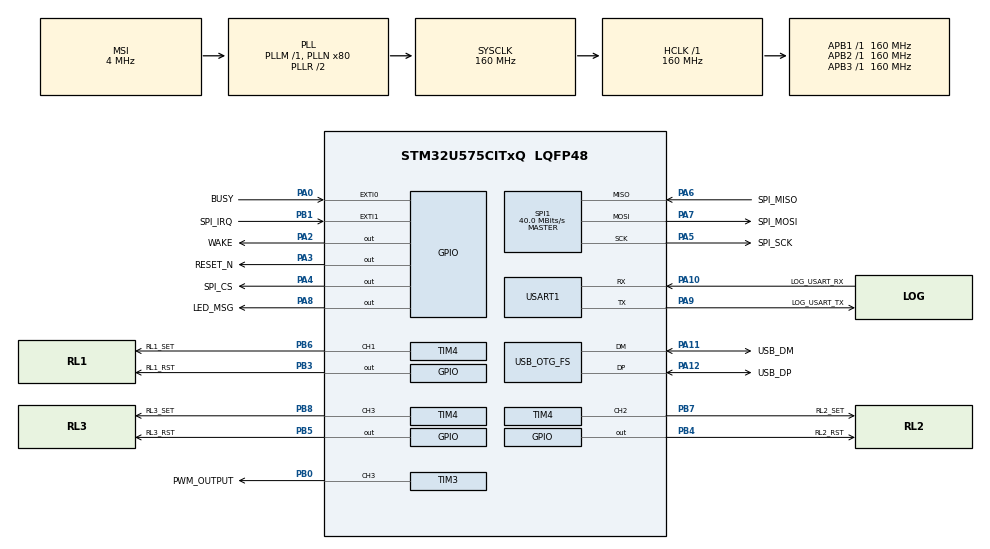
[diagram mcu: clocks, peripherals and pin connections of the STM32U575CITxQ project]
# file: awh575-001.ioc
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ADC1.Channel-1\#ChannelRegularConversion=ADC_CHANNEL_TEMPSENSOR
ADC1.ClockPrescaler=ADC_CLOCK_ASYNC_DIV1
ADC1.ContinuousConvMode=ENABLE
ADC1.EnableRegularConversion=ENABLE
ADC1.MonitoredBy-1\#ChannelRegularConversion=__NULL
ADC1.NbrOfConversion=1
ADC1.NbrOfConversionFlag=1
ADC1.OffsetNumber-1\#ChannelRegularConversion=ADC_OFFSET_NONE
ADC1.Rank-1\#ChannelRegularConversion=1
ADC1.Resolution=ADC_RESOLUTION_14B
ADC1.SamplingTime-1\#ChannelRegularConversion=ADC_SAMPLETIME_391CYCLES_5
ADC1.master=1
CORTEX_M33_NS.userName=CORTEX_M33
GPDMA1.DESTINC_GPDMACH14=DMA_DINC_INCREMENTED
GPDMA1.DIRECTION_GPDMACH15=DMA_MEMORY_TO_PERIPH
GPDMA1.IPHANDLE_GPDMACH14-SIMPLEREQUEST_GPDMACH14=__NULL
GPDMA1.IPHANDLE_GPDMACH15-SIMPLEREQUEST_GPDMACH15=__NULL
GPDMA1.RECAP_GPDMACH14=GPDMA1_REQUEST_SPI1_RX
GPDMA1.RECAP_GPDMACH15=GPDMA1_REQUEST_SPI1_TX
GPDMA1.REQUEST_GPDMACH14=GPDMA1_REQUEST_SPI1_RX
GPDMA1.REQUEST_GPDMACH15=GPDMA1_REQUEST_SPI1_TX
GPDMA1.SRCINC_GPDMACH15=DMA_SINC_INCREMENTED
LPTIM1.ClockPrescaler=LPTIM_PRESCALER_DIV4
Mcu.Family=STM32U5
Mcu.Name=STM32U575CITxQ
Mcu.Package=LQFP48
NVIC.EXTI0_IRQn=true\:15\:0\:true\:false\:false\:true\:true\:false
NVIC.EXTI1_IRQn=true\:15\:0\:true\:false\:false\:true\:true\:false
NVIC.GPDMA1_Channel14_IRQn=true\:15\:0\:true\:false\:false\:true\:true\:true
NVIC.LPTIM1_IRQn=true\:0\:0\:false\:false\:false\:true\:true\:true
NVIC.OTG_FS_IRQn=true\:0\:0\:false\:false\:true\:true\:false\:false
NVIC.PriorityGroup=NVIC_PRIORITYGROUP_4
NVIC.SPI1_IRQn=true\:0\:0\:false\:false\:false\:false\:true\:true
NVIC.TIM1_UP_IRQn=true\:0\:0\:true\:false\:true\:false\:true\:true
NVIC.TimeBase=TIM1_UP_IRQn
NVIC.TimeBaseIP=TIM1
NVIC.USART1_IRQn=true\:15\:0\:true\:false\:false\:true\:true\:true
PA0.GPIO_Label=BUSY
PA0.GPIO_PuPd=GPIO_PULLDOWN
PA0.Signal=GPXTI0
PA10.GPIO_Label=LOG_USART_RX
PA10.GPIO_PuPd=GPIO_PULLDOWN
PA10.GPIO_Speed=GPIO_SPEED_FREQ_VERY_HIGH
PA10.Mode=Asynchronous
PA10.Signal=USART1_RX
PA11.GPIO_Label=USB_DM
PA11.Mode=Device_Only
PA11.Signal=USB_OTG_FS_DM
PA12.GPIO_Label=USB_DP
PA12.Mode=Device_Only
PA12.Signal=USB_OTG_FS_DP
PA13\ (JTMS/SWDIO).GPIO_Label=SWDIO
PA13\ (JTMS/SWDIO).Mode=Serial_Wire
PA13\ (JTMS/SWDIO).Signal=DEBUG_JTMS-SWDIO
PA14\ (JTCK/SWCLK).GPIO_Label=SWCLK
PA14\ (JTCK/SWCLK).Mode=Serial_Wire
PA14\ (JTCK/SWCLK).Signal=DEBUG_JTCK-SWCLK
PA2.GPIO_Label=WAKE
PA2.Signal=GPIO_Output
PA3.GPIO_Label=RESET_N
PA3.Signal=GPIO_Output
PA4.GPIO_Label=SPI_CS
PA4.Signal=GPIO_Output
PA5.GPIO_Label=SPI_SCK
PA5.GPIO_Speed=GPIO_SPEED_FREQ_VERY_HIGH
PA5.Mode=Full_Duplex_Master
PA5.Signal=SPI1_SCK
PA6.GPIO_Label=SPI_MISO
PA6.GPIO_Speed=GPIO_SPEED_FREQ_VERY_HIGH
PA6.Mode=Full_Duplex_Master
PA6.Signal=SPI1_MISO
PA7.GPIO_Label=SPI_MOSI
PA7.GPIO_Speed=GPIO_SPEED_FREQ_VERY_HIGH
PA7.Mode=Full_Duplex_Master
PA7.Signal=SPI1_MOSI
PA8.GPIO_Label=LED_MSG
PA8.PinState=GPIO_PIN_SET
PA8.Signal=GPIO_Output
PA9.GPIO_Label=LOG_USART_TX
PA9.GPIO_PuPd=GPIO_PULLDOWN
PA9.GPIO_Speed=GPIO_SPEED_FREQ_VERY_HIGH
PA9.Mode=Asynchronous
PA9.Signal=USART1_TX
PB0.GPIO_Label=PWM_OUTPUT
PB0.Signal=S_TIM3_CH3
PB1.GPIO_Label=SPI_IRQ
PB1.GPIO_ModeDefaultEXTI=GPIO_MODE_IT_FALLING
PB1.Signal=GPXTI1
PB3\ (JTDO/TRACESWO).GPIO_Label=RL1_RST
PB3\ (JTDO/TRACESWO).Signal=GPIO_Output
PB4\ (NJTRST).GPIO_Label=RL2_RST
PB4\ (NJTRST).Signal=GPIO_Output
PB5.GPIO_Label=RL3_RST
PB5.PinState=GPIO_PIN_RESET
PB5.Signal=GPIO_Output
PB6.GPIO_Label=RL1_SET
PB6.Signal=S_TIM4_CH1
PB7.GPIO_Label=RL2_SET
PB7.Signal=S_TIM4_CH2
PB8.GPIO_Label=RL3_SET
PB8.Signal=S_TIM4_CH3
PWR.PowerMode=PWR_SMPS_SUPPLY
ProjectManager.HeapSize=0x200
ProjectManager.StackSize=0x400
ProjectManager.TargetToolchain=Makefile
RCC.ADCFreq_Value=16000000
RCC.AHBFreq_Value=160000000
RCC.APB1Freq_Value=160000000
RCC.APB1TimFreq_Value=160000000
RCC.APB2Freq_Value=160000000
RCC.APB2TimFreq_Value=160000000
RCC.APB3Freq_Value=160000000
RCC.CortexFreq_Value=160000000
RCC.DACCLockSelectionVirtual=RCC_DAC1CLKSOURCE_LSI
RCC.EPOD_VALUE=4000000
RCC.HCLKFreq_Value=160000000
RCC.HSE_VALUE=16000000
RCC.HSI48_VALUE=48000000
RCC.HSI_VALUE=16000000
RCC.LPTIM1CLockSelectionVirtual=RCC_LPTIM1CLKSOURCE_LSI
RCC.LSE_VALUE=32768
RCC.LSIDIV_VALUE=32000
RCC.MSI_VALUE=4000000
RCC.PLLN=80
RCC.SYSCLKFreq_VALUE=160000000
RCC.SYSCLKSource=RCC_SYSCLKSOURCE_PLLCLK
RCC.USBFreq_Value=48000000
RCC.VCOOutputFreq_Value=320000000
SH.S_TIM3_CH3.0=TIM3_CH3,PWM Generation3 CH3
SH.S_TIM4_CH1.0=TIM4_CH1,PWM Generation1 CH1
SH.S_TIM4_CH2.0=TIM4_CH2,PWM Generation2 CH2
SH.S_TIM4_CH3.0=TIM4_CH3,PWM Generation3 CH3
SPI1.BaudRatePrescaler=SPI_BAUDRATEPRESCALER_4
SPI1.CalculateBaudRate=40.0 MBits/s
SPI1.DataSize=SPI_DATASIZE_8BIT
SPI1.Direction=SPI_DIRECTION_2LINES
SPI1.Mode=SPI_MODE_MASTER
SPI1.NSSPMode=SPI_NSS_PULSE_DISABLE
SPI1.VirtualType=VM_MASTER
TIM3.Channel-PWM\ Generation3\ CH3=TIM_CHANNEL_3
TIM3.PeriodNoDither=500-1
TIM3.Prescaler=160-1
TIM4.Channel-PWM\ Generation1\ CH1=TIM_CHANNEL_1
TIM4.Channel-PWM\ Generation2\ CH2=TIM_CHANNEL_2
TIM4.Channel-PWM\ Generation3\ CH3=TIM_CHANNEL_3
TIM4.PeriodNoDither=500-1
TIM4.Prescaler=16-1
USART1.VirtualMode-Asynchronous=VM_ASYNC
USB_OTG_FS.VirtualMode=Device_Only
VP_ADC1_TempSens_Input.Mode=IN-TempSens
VP_GPDMA1_VS_GPDMACH14.Mode=SIMPLEREQUEST_GPDMACH14
VP_GPDMA1_VS_GPDMACH15.Mode=SIMPLEREQUEST_GPDMACH15
VP_ICACHE_VS_ICACHE.Mode=DefaultMode
VP_LPBAMQUEUE_VS_QUEUE.Mode=QUEUEMODE
VP_LPBAM_VS_SIG1.Mode=SmartRun
VP_LPBAM_VS_SIG4.Mode=LPDMA1
VP_LPTIM1_VS_LPTIM_counterModeInternalClock.Mode=Counts__internal_clock_event_00
VP_MEMORYMAP_VS_MEMORYMAP.Mode=CurAppReg
VP_PWR_VS_DBSignals.Mode=DisableDeadBatterySignals
VP_PWR_VS_LPOM.Mode=PowerOptimisation
VP_PWR_VS_SECSignals.Mode=Security/Privilege
VP_PWR_Vdda.Mode=isolationVdda
VP_RNG_VS_RNG.Mode=RNG_Activate
VP_RTC_VS_RTC_Activate.Mode=RTC_Enabled
VP_SYS_VS_tim1.Mode=TIM1
board=custom

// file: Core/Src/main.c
/* USER CODE BEGIN Header */
/**
  ******************************************************************************
  * @file           : main.c
  * @brief          : Main program body
  ******************************************************************************
  * @attention
  *
  * Copyright (c) 2022 STMicroelectronics.
  * All rights reserved.
  *
  * This software is licensed under terms that can be found in the LICENSE file
  * in the root directory of this software component.
  * If no LICENSE file comes with this software, it is provided AS-IS.
  *
  ******************************************************************************
  */
/* USER CODE END Header */
#include "main.h"

/* USER CODE BEGIN Includes */
#include "mmosal.h"

#ifdef CFG_ENABLE
#include "CLI-commands.h"
#endif
/* USER CODE END Includes */

/* USER CODE BEGIN PD */
#ifndef SWO_GPIO_Port
#define SWO_GPIO_Port   GPIOB
#endif
#ifndef SWO_Pin
#define SWO_Pin         LL_GPIO_PIN_3
#endif
/* USER CODE END PD */

ADC_HandleTypeDef hadc1;

RNG_HandleTypeDef hrng;

TIM_HandleTypeDef htim3;
TIM_HandleTypeDef htim4;

PCD_HandleTypeDef hpcd_USB_OTG_FS;

/* USER CODE BEGIN PV */
#ifdef ENABLE_MODBUS
UART_HandleTypeDef *pta_UART[MODBUS_NUM] = {
}
#endif
/* USER CODE END PV */

void SystemClock_Config(void);
static void SystemPower_Config(void);
static void MX_GPIO_Init(void);
static void MX_GPDMA1_Init(void);
static void MX_SPI1_Init(void);
static void MX_TIM3_Init(void);
static void MX_TIM4_Init(void);
static void MX_USART1_UART_Init(void);
static void MX_USB_OTG_FS_PCD_Init(void);
static void MX_ICACHE_Init(void);
static void MX_LPTIM1_Init(void);
static void MX_RNG_Init(void);
static void MX_RTC_Init(void);
static void MX_ADC1_Init(void);
/* USER CODE BEGIN PFP */
void app_init(void);
/* USER CODE END PFP */

int main(void)
{

  /* MCU Configuration--------------------------------------------------------*/

  /* Reset of all peripherals, Initializes the Flash interface and the Systick. */
  HAL_Init();

  /* Configure the System Power */
  SystemPower_Config();

  /* Configure the system clock */
  SystemClock_Config();

  /* Initialize all configured peripherals */
  MX_GPIO_Init();
  MX_GPDMA1_Init();
  MX_SPI1_Init();
  MX_TIM3_Init();
  MX_TIM4_Init();
  MX_USART1_UART_Init();
  MX_ICACHE_Init();
  MX_LPTIM1_Init();
  MX_RNG_Init();
  MX_RTC_Init();
  MX_ADC1_Init();
  /* USER CODE BEGIN 2 */
  MX_USB_OTG_FS_PCD_Init();

  printf("%cc",0x1b);

#if defined(ENABLE_DEBUG_IN_STOP_MODE) && ENABLE_DEBUG_IN_STOP_MODE
  LL_DBGMCU_EnableDBGStopMode();
  printf("\nNote: This firmware has been built with debug in stop mode enabled.\n");
  printf("This will impact power consumption and should be disabled for production firmware.\n");
#endif
  mmosal_main(app_init);
  /* USER CODE END 2 */

  /* Infinite loop */
  while (1)
  {

  }
}

void SystemClock_Config(void)
{
  RCC_OscInitTypeDef RCC_OscInitStruct = {0};
  RCC_ClkInitTypeDef RCC_ClkInitStruct = {0};

  /** Configure the main internal regulator output voltage
  */
  if (HAL_PWREx_ControlVoltageScaling(PWR_REGULATOR_VOLTAGE_SCALE1) != HAL_OK)
  {
    Error_Handler();
  }

  /** Initializes the CPU, AHB and APB buses clocks
  */
  RCC_OscInitStruct.OscillatorType = RCC_OSCILLATORTYPE_HSI48|RCC_OSCILLATORTYPE_HSI
                              |RCC_OSCILLATORTYPE_LSI|RCC_OSCILLATORTYPE_MSI;
  RCC_OscInitStruct.HSIState = RCC_HSI_ON;
  RCC_OscInitStruct.HSI48State = RCC_HSI48_ON;
  RCC_OscInitStruct.HSICalibrationValue = RCC_HSICALIBRATION_DEFAULT;
  RCC_OscInitStruct.LSIState = RCC_LSI_ON;
  RCC_OscInitStruct.MSIState = RCC_MSI_ON;
  RCC_OscInitStruct.MSICalibrationValue = RCC_MSICALIBRATION_DEFAULT;
  RCC_OscInitStruct.MSIClockRange = RCC_MSIRANGE_4;
  RCC_OscInitStruct.LSIDiv = RCC_LSI_DIV1;
  RCC_OscInitStruct.PLL.PLLState = RCC_PLL_ON;
  RCC_OscInitStruct.PLL.PLLSource = RCC_PLLSOURCE_MSI;
  RCC_OscInitStruct.PLL.PLLMBOOST = RCC_PLLMBOOST_DIV1;
  RCC_OscInitStruct.PLL.PLLM = 1;
  RCC_OscInitStruct.PLL.PLLN = 80;
  RCC_OscInitStruct.PLL.PLLP = 2;
  RCC_OscInitStruct.PLL.PLLQ = 2;
  RCC_OscInitStruct.PLL.PLLR = 2;
  RCC_OscInitStruct.PLL.PLLRGE = RCC_PLLVCIRANGE_0;
  RCC_OscInitStruct.PLL.PLLFRACN = 0;
  if (HAL_RCC_OscConfig(&RCC_OscInitStruct) != HAL_OK)
  {
    Error_Handler();
  }

  /** Initializes the CPU, AHB and APB buses clocks
  */
  RCC_ClkInitStruct.ClockType = RCC_CLOCKTYPE_HCLK|RCC_CLOCKTYPE_SYSCLK
                              |RCC_CLOCKTYPE_PCLK1|RCC_CLOCKTYPE_PCLK2
                              |RCC_CLOCKTYPE_PCLK3;
  RCC_ClkInitStruct.SYSCLKSource = RCC_SYSCLKSOURCE_PLLCLK;
  RCC_ClkInitStruct.AHBCLKDivider = RCC_SYSCLK_DIV1;
  RCC_ClkInitStruct.APB1CLKDivider = RCC_HCLK_DIV1;
  RCC_ClkInitStruct.APB2CLKDivider = RCC_HCLK_DIV1;
  RCC_ClkInitStruct.APB3CLKDivider = RCC_HCLK_DIV1;

  if (HAL_RCC_ClockConfig(&RCC_ClkInitStruct, FLASH_LATENCY_4) != HAL_OK)
  {
    Error_Handler();
  }
}

/**
  * @brief Power Configuration
  * @retval None
  */
static void SystemPower_Config(void)
{

  /*
   * Disable the internal Pull-Up in Dead Battery pins of UCPD peripheral
   */
  HAL_PWREx_DisableUCPDDeadBattery();

  /*
   * Switch to SMPS regulator instead of LDO
   */
  if (HAL_PWREx_ConfigSupply(PWR_SMPS_SUPPLY) != HAL_OK)
  {
    Error_Handler();
  }
}

static void MX_ADC1_Init(void)
{

  ADC_ChannelConfTypeDef sConfig = {0};

  /** Common config
  */
  hadc1.Instance = ADC1;
  hadc1.Init.ClockPrescaler = ADC_CLOCK_ASYNC_DIV1;
  hadc1.Init.Resolution = ADC_RESOLUTION_14B;
  hadc1.Init.GainCompensation = 0;
  hadc1.Init.ScanConvMode = ADC_SCAN_DISABLE;
  hadc1.Init.EOCSelection = ADC_EOC_SINGLE_CONV;
  hadc1.Init.LowPowerAutoWait = DISABLE;
  hadc1.Init.ContinuousConvMode = ENABLE;
  hadc1.Init.NbrOfConversion = 1;
  hadc1.Init.DiscontinuousConvMode = DISABLE;
  hadc1.Init.ExternalTrigConv = ADC_SOFTWARE_START;
  hadc1.Init.ExternalTrigConvEdge = ADC_EXTERNALTRIGCONVEDGE_NONE;
  hadc1.Init.DMAContinuousRequests = DISABLE;
  hadc1.Init.TriggerFrequencyMode = ADC_TRIGGER_FREQ_HIGH;
  hadc1.Init.Overrun = ADC_OVR_DATA_PRESERVED;
  hadc1.Init.LeftBitShift = ADC_LEFTBITSHIFT_NONE;
  hadc1.Init.ConversionDataManagement = ADC_CONVERSIONDATA_DR;
  hadc1.Init.OversamplingMode = DISABLE;
  if (HAL_ADC_Init(&hadc1) != HAL_OK)
  {
    Error_Handler();
  }

  /** Configure Regular Channel
  */
  sConfig.Channel = ADC_CHANNEL_TEMPSENSOR;
  sConfig.Rank = ADC_REGULAR_RANK_1;
  sConfig.SamplingTime = ADC_SAMPLETIME_391CYCLES_5;
  sConfig.SingleDiff = ADC_SINGLE_ENDED;
  sConfig.OffsetNumber = ADC_OFFSET_NONE;
  sConfig.Offset = 0;
  if (HAL_ADC_ConfigChannel(&hadc1, &sConfig) != HAL_OK)
  {
    Error_Handler();
  }
  /* USER CODE BEGIN ADC1_Init 2 */
    LL_ADC_SetCommonPathInternalChAdd((ADC_Common_TypeDef *)ADC1_BASE, LL_ADC_PATH_INTERNAL_TEMPSENSOR);
    if (HAL_ADCEx_Calibration_Start(&hadc1, 1, 0) != HAL_OK)
    {
        printf("ADC Calibration fail\r\n");
    }
    LL_ADC_SetCommonPathInternalChRem((ADC_Common_TypeDef *)ADC1_BASE, LL_ADC_PATH_INTERNAL_TEMPSENSOR);

  /* USER CODE END ADC1_Init 2 */

}

static void MX_GPDMA1_Init(void)
{

  /* Peripheral clock enable */
  LL_AHB1_GRP1_EnableClock(LL_AHB1_GRP1_PERIPH_GPDMA1);

  /* GPDMA1 interrupt Init */
  NVIC_SetPriority(GPDMA1_Channel14_IRQn, NVIC_EncodePriority(NVIC_GetPriorityGrouping(),15, 0));
  NVIC_EnableIRQ(GPDMA1_Channel14_IRQn);

}

static void MX_ICACHE_Init(void)
{

  /** Enable instruction cache (default 2-ways set associative cache)
  */
  if (HAL_ICACHE_Enable() != HAL_OK)
  {
    Error_Handler();
  }

}

static void MX_LPTIM1_Init(void)
{

  RCC_PeriphCLKInitTypeDef PeriphClkInit = {0};

  /** Initializes the peripherals clock
  */
  PeriphClkInit.PeriphClockSelection = RCC_PERIPHCLK_LPTIM1;
  PeriphClkInit.Lptim1ClockSelection = RCC_LPTIM1CLKSOURCE_LSI;
  if (HAL_RCCEx_PeriphCLKConfig(&PeriphClkInit) != HAL_OK)
  {
    Error_Handler();
  }

  /* Peripheral clock enable */
  LL_APB3_GRP1_EnableClock(LL_APB3_GRP1_PERIPH_LPTIM1);

  /* LPTIM1 interrupt Init */
  NVIC_SetPriority(LPTIM1_IRQn, NVIC_EncodePriority(NVIC_GetPriorityGrouping(),0, 0));
  NVIC_EnableIRQ(LPTIM1_IRQn);

  LL_LPTIM_Enable(LPTIM1);
  LL_LPTIM_ClearFlag_REPOK(LPTIM1);
  LL_LPTIM_SetRepetition(LPTIM1, 0);

   /* Wait till REPOK Flag is ready */
  while(!LL_LPTIM_IsActiveFlag_REPOK(LPTIM1))
  {
  }
  LL_LPTIM_ClearFlag_ARROK(LPTIM1);
  LL_LPTIM_SetAutoReload(LPTIM1, 65535);

   /* Wait till ARROK Flag is ready */
  while(!LL_LPTIM_IsActiveFlag_ARROK(LPTIM1))
  {
  }
  LL_LPTIM_Disable(LPTIM1);
  LL_LPTIM_SetClockSource(LPTIM1, LL_LPTIM_CLK_SOURCE_INTERNAL);
  LL_LPTIM_SetPrescaler(LPTIM1, LL_LPTIM_PRESCALER_DIV4);
  LL_LPTIM_SetUpdateMode(LPTIM1, LL_LPTIM_UPDATE_MODE_IMMEDIATE);
  LL_LPTIM_SetCounterMode(LPTIM1, LL_LPTIM_COUNTER_MODE_INTERNAL);
  LL_LPTIM_TrigSw(LPTIM1);
  LL_LPTIM_SetInput1Src(LPTIM1, LL_LPTIM_INPUT1_SRC_GPIO);
  LL_LPTIM_SetInput2Src(LPTIM1, LL_LPTIM_INPUT2_SRC_GPIO);
  /* USER CODE BEGIN LPTIM1_Init 2 */

  /* We enable the LPTIM in continuous mode and leave it running. We then use the compare match
   * functionality for tracking time whilst in deep sleep. This avoids having to wait the
   * synchronisation delay (3 cycles). */
  LL_LPTIM_Enable(LPTIM1);

  LL_LPTIM_ClearFlag_DIEROK(LPTIM1);
  LL_LPTIM_EnableIT_CC1(LPTIM1);
  while (!LL_LPTIM_IsActiveFlag_DIEROK(LPTIM1))
  {
  }
  LL_LPTIM_StartCounter(LPTIM1, LL_LPTIM_OPERATING_MODE_CONTINUOUS);

  /* Enable LPTIM1 autonomous mode to wake up from stop modes. */
  LL_SRDAMR_GRP1_EnableAutonomousClock(LL_SRDAMR_GRP1_PERIPH_LPTIM1AMEN);

  /* USER CODE END LPTIM1_Init 2 */

}

static void MX_RNG_Init(void)
{

  hrng.Instance = RNG;
  hrng.Init.ClockErrorDetection = RNG_CED_ENABLE;
  if (HAL_RNG_Init(&hrng) != HAL_OK)
  {
    Error_Handler();
  }

}

static void MX_RTC_Init(void)
{

  LL_RTC_InitTypeDef RTC_InitStruct = {0};

  RCC_PeriphCLKInitTypeDef PeriphClkInit = {0};

  /** Initializes the peripherals clock
  */
  PeriphClkInit.PeriphClockSelection = RCC_PERIPHCLK_RTC;
  PeriphClkInit.RTCClockSelection = RCC_RTCCLKSOURCE_LSI;
  if (HAL_RCCEx_PeriphCLKConfig(&PeriphClkInit) != HAL_OK)
  {
    Error_Handler();
  }

  /* Peripheral clock enable */
  LL_RCC_EnableRTC();
  LL_APB3_GRP1_EnableClock(LL_APB3_GRP1_PERIPH_RTCAPB);
  LL_SRDAMR_GRP1_EnableAutonomousClock(LL_SRDAMR_GRP1_PERIPH_RTCAPBAMEN);

  RTC_InitStruct.HourFormat = LL_RTC_HOURFORMAT_24HOUR;
  RTC_InitStruct.AsynchPrescaler = 127;
  RTC_InitStruct.SynchPrescaler = 255;
  LL_RTC_Init(RTC, &RTC_InitStruct);
  LL_RTC_SetBackupRegisterPrivilege(RTC, LL_RTC_PRIVILEGE_BKUP_ZONE_NONE);
  LL_RTC_SetBackupRegProtection(RTC, LL_RTC_BKP_DR0, LL_RTC_BKP_DR0);
  LL_RTC_SetRtcPrivilege(RTC, LL_RTC_PRIVILEGE_FULL_NO);
  /* USER CODE BEGIN RTC_Init 2 */

  /*Initialize RTC and set the Time and Date*/

  if(LL_RTC_BKP_GetRegister(RTC,LL_RTC_BKP_DR0) != 0x32F2)
  {
    LL_RTC_TimeTypeDef RTC_TimeStruct = {0};
    LL_RTC_DateTypeDef RTC_DateStruct = {0};

    RTC_TimeStruct.Hours = 0x0;
    RTC_TimeStruct.Minutes = 0x0;
    RTC_TimeStruct.Seconds = 0x0;
    LL_RTC_TIME_Init(RTC, LL_RTC_FORMAT_BCD, &RTC_TimeStruct);

    RTC_DateStruct.WeekDay = 5;
    RTC_DateStruct.Month = 0;
    RTC_DateStruct.Day = 0x1;
    RTC_DateStruct.Year = 0x0;
    LL_RTC_DATE_Init(RTC, LL_RTC_FORMAT_BCD, &RTC_DateStruct);

    LL_RTC_BKP_SetRegister(RTC,LL_RTC_BKP_DR0,0x32F2);
  }

  /* USER CODE END RTC_Init 2 */

}

static void MX_SPI1_Init(void)
{

  LL_SPI_InitTypeDef SPI_InitStruct = {0};

  LL_GPIO_InitTypeDef GPIO_InitStruct = {0};
  LL_DMA_InitTypeDef DMA_InitStruct = {0};
  RCC_PeriphCLKInitTypeDef PeriphClkInit = {0};

  /** Initializes the peripherals clock
  */
  PeriphClkInit.PeriphClockSelection = RCC_PERIPHCLK_SPI1;
  PeriphClkInit.Spi1ClockSelection = RCC_SPI1CLKSOURCE_SYSCLK;
  if (HAL_RCCEx_PeriphCLKConfig(&PeriphClkInit) != HAL_OK)
  {
    Error_Handler();
  }

  /* Peripheral clock enable */
  LL_APB2_GRP1_EnableClock(LL_APB2_GRP1_PERIPH_SPI1);

  LL_AHB2_GRP1_EnableClock(LL_AHB2_GRP1_PERIPH_GPIOA);
  /**SPI1 GPIO Configuration
  PA5   ------> SPI1_SCK
  PA6   ------> SPI1_MISO
  PA7   ------> SPI1_MOSI
  */
  GPIO_InitStruct.Pin = SPI_SCK_Pin|SPI_MISO_Pin|SPI_MOSI_Pin;
  GPIO_InitStruct.Mode = LL_GPIO_MODE_ALTERNATE;
  GPIO_InitStruct.Speed = LL_GPIO_SPEED_FREQ_VERY_HIGH;
  GPIO_InitStruct.OutputType = LL_GPIO_OUTPUT_PUSHPULL;
  GPIO_InitStruct.Pull = LL_GPIO_PULL_NO;
  GPIO_InitStruct.Alternate = LL_GPIO_AF_5;
  LL_GPIO_Init(GPIOA, &GPIO_InitStruct);

  /* SPI1 DMA Init */

  /* GPDMA1_REQUEST_SPI1_TX Init */
  DMA_InitStruct.SrcAddress = 0x00000000U;
  DMA_InitStruct.DestAddress = 0x00000000U;
  DMA_InitStruct.Direction = LL_DMA_DIRECTION_MEMORY_TO_PERIPH;
  DMA_InitStruct.BlkHWRequest = LL_DMA_HWREQUEST_SINGLEBURST;
  DMA_InitStruct.DataAlignment = LL_DMA_DATA_ALIGN_ZEROPADD;
  DMA_InitStruct.SrcBurstLength = 1;
  DMA_InitStruct.DestBurstLength = 1;
  DMA_InitStruct.SrcDataWidth = LL_DMA_SRC_DATAWIDTH_BYTE;
  DMA_InitStruct.DestDataWidth = LL_DMA_DEST_DATAWIDTH_BYTE;
  DMA_InitStruct.SrcIncMode = LL_DMA_SRC_INCREMENT;
  DMA_InitStruct.DestIncMode = LL_DMA_DEST_FIXED;
  DMA_InitStruct.Priority = LL_DMA_LOW_PRIORITY_LOW_WEIGHT;
  DMA_InitStruct.BlkDataLength = 0x00000000U;
  DMA_InitStruct.BlkRptCount = 0x00000000U;
  DMA_InitStruct.TriggerMode = LL_DMA_TRIGM_BLK_TRANSFER;
  DMA_InitStruct.TriggerPolarity = LL_DMA_TRIG_POLARITY_MASKED;
  DMA_InitStruct.TriggerSelection = 0x00000000U;
  DMA_InitStruct.Request = LL_GPDMA1_REQUEST_SPI1_TX;
  DMA_InitStruct.TransferEventMode = LL_DMA_TCEM_BLK_TRANSFER;
  DMA_InitStruct.DestHWordExchange = LL_DMA_DEST_HALFWORD_PRESERVE;
  DMA_InitStruct.SrcByteExchange = LL_DMA_SRC_BYTE_PRESERVE;
  DMA_InitStruct.DestByteExchange = LL_DMA_DEST_BYTE_PRESERVE;
  DMA_InitStruct.SrcAllocatedPort = LL_DMA_SRC_ALLOCATED_PORT0;
  DMA_InitStruct.DestAllocatedPort = LL_DMA_DEST_ALLOCATED_PORT0;
  DMA_InitStruct.LinkAllocatedPort = LL_DMA_LINK_ALLOCATED_PORT1;
  DMA_InitStruct.LinkStepMode = LL_DMA_LSM_FULL_EXECUTION;
  DMA_InitStruct.SrcAddrUpdateMode = LL_DMA_BURST_SRC_ADDR_INCREMENT;
  DMA_InitStruct.DestAddrUpdateMode = LL_DMA_BURST_DEST_ADDR_INCREMENT;
  DMA_InitStruct.DestAddrOffset = 0x00000000U;
  DMA_InitStruct.SrcAddrOffset = 0x00000000U;
  DMA_InitStruct.BlkRptSrcAddrUpdateMode = LL_DMA_BURST_SRC_ADDR_INCREMENT;
  DMA_InitStruct.BlkRptDestAddrUpdateMode = LL_DMA_BURST_DEST_ADDR_INCREMENT;
  DMA_InitStruct.BlkRptSrcAddrOffset = 0x00000000U;
  DMA_InitStruct.BlkRptDestAddrOffset = 0x00000000U;
  DMA_InitStruct.LinkedListBaseAddr = 0x00000000U;
  DMA_InitStruct.LinkedListAddrOffset = 0x00000000U;
  LL_DMA_Init(GPDMA1, LL_DMA_CHANNEL_15, &DMA_InitStruct);

  /* GPDMA1_REQUEST_SPI1_RX Init */
  DMA_InitStruct.SrcAddress = 0x00000000U;
  DMA_InitStruct.DestAddress = 0x00000000U;
  DMA_InitStruct.Direction = LL_DMA_DIRECTION_PERIPH_TO_MEMORY;
  DMA_InitStruct.BlkHWRequest = LL_DMA_HWREQUEST_SINGLEBURST;
  DMA_InitStruct.DataAlignment = LL_DMA_DATA_ALIGN_ZEROPADD;
  DMA_InitStruct.SrcBurstLength = 1;
  DMA_InitStruct.DestBurstLength = 1;
  DMA_InitStruct.SrcDataWidth = LL_DMA_SRC_DATAWIDTH_BYTE;
  DMA_InitStruct.DestDataWidth = LL_DMA_DEST_DATAWIDTH_BYTE;
  DMA_InitStruct.SrcIncMode = LL_DMA_SRC_FIXED;
  DMA_InitStruct.DestIncMode = LL_DMA_DEST_INCREMENT;
  DMA_InitStruct.Priority = LL_DMA_LOW_PRIORITY_LOW_WEIGHT;
  DMA_InitStruct.BlkDataLength = 0x00000000U;
  DMA_InitStruct.BlkRptCount = 0x00000000U;
  DMA_InitStruct.TriggerMode = LL_DMA_TRIGM_BLK_TRANSFER;
  DMA_InitStruct.TriggerPolarity = LL_DMA_TRIG_POLARITY_MASKED;
  DMA_InitStruct.TriggerSelection = 0x00000000U;
  DMA_InitStruct.Request = LL_GPDMA1_REQUEST_SPI1_RX;
  DMA_InitStruct.TransferEventMode = LL_DMA_TCEM_BLK_TRANSFER;
  DMA_InitStruct.DestHWordExchange = LL_DMA_DEST_HALFWORD_PRESERVE;
  DMA_InitStruct.SrcByteExchange = LL_DMA_SRC_BYTE_PRESERVE;
  DMA_InitStruct.DestByteExchange = LL_DMA_DEST_BYTE_PRESERVE;
  DMA_InitStruct.SrcAllocatedPort = LL_DMA_SRC_ALLOCATED_PORT0;
  DMA_InitStruct.DestAllocatedPort = LL_DMA_DEST_ALLOCATED_PORT0;
  DMA_InitStruct.LinkAllocatedPort = LL_DMA_LINK_ALLOCATED_PORT1;
  DMA_InitStruct.LinkStepMode = LL_DMA_LSM_FULL_EXECUTION;
  DMA_InitStruct.SrcAddrUpdateMode = LL_DMA_BURST_SRC_ADDR_INCREMENT;
  DMA_InitStruct.DestAddrUpdateMode = LL_DMA_BURST_DEST_ADDR_INCREMENT;
  DMA_InitStruct.DestAddrOffset = 0x00000000U;
  DMA_InitStruct.SrcAddrOffset = 0x00000000U;
  DMA_InitStruct.BlkRptSrcAddrUpdateMode = LL_DMA_BURST_SRC_ADDR_INCREMENT;
  DMA_InitStruct.BlkRptDestAddrUpdateMode = LL_DMA_BURST_DEST_ADDR_INCREMENT;
  DMA_InitStruct.BlkRptSrcAddrOffset = 0x00000000U;
  DMA_InitStruct.BlkRptDestAddrOffset = 0x00000000U;
  DMA_InitStruct.LinkedListBaseAddr = 0x00000000U;
  DMA_InitStruct.LinkedListAddrOffset = 0x00000000U;
  LL_DMA_Init(GPDMA1, LL_DMA_CHANNEL_14, &DMA_InitStruct);

  /* SPI1 interrupt Init */
  NVIC_SetPriority(SPI1_IRQn, NVIC_EncodePriority(NVIC_GetPriorityGrouping(),0, 0));
  NVIC_EnableIRQ(SPI1_IRQn);

  /* USER CODE BEGIN SPI1_Init 1 */
    LL_DMA_EnableIT_TC(GPDMA1, LL_DMA_CHANNEL_14);
  /* USER CODE END SPI1_Init 1 */
  /* SPI1 parameter configuration*/
  SPI_InitStruct.TransferDirection = LL_SPI_FULL_DUPLEX;
  SPI_InitStruct.Mode = LL_SPI_MODE_MASTER;
  SPI_InitStruct.DataWidth = LL_SPI_DATAWIDTH_8BIT;
  SPI_InitStruct.ClockPolarity = LL_SPI_POLARITY_LOW;
  SPI_InitStruct.ClockPhase = LL_SPI_PHASE_1EDGE;
  SPI_InitStruct.NSS = LL_SPI_NSS_SOFT;
  SPI_InitStruct.BaudRate = LL_SPI_BAUDRATEPRESCALER_DIV4;
  SPI_InitStruct.BitOrder = LL_SPI_MSB_FIRST;
  SPI_InitStruct.CRCCalculation = LL_SPI_CRCCALCULATION_DISABLE;
  SPI_InitStruct.CRCPoly = 0x7;
  LL_SPI_Init(SPI1, &SPI_InitStruct);
  LL_SPI_SetStandard(SPI1, LL_SPI_PROTOCOL_MOTOROLA);
  LL_SPI_DisableNSSPulseMgt(SPI1);

}

static void MX_TIM3_Init(void)
{

  TIM_MasterConfigTypeDef sMasterConfig = {0};
  TIM_OC_InitTypeDef sConfigOC = {0};

  htim3.Instance = TIM3;
  htim3.Init.Prescaler = 160-1;
  htim3.Init.CounterMode = TIM_COUNTERMODE_UP;
  htim3.Init.Period = 499;
  htim3.Init.ClockDivision = TIM_CLOCKDIVISION_DIV1;
  htim3.Init.AutoReloadPreload = TIM_AUTORELOAD_PRELOAD_DISABLE;
  if (HAL_TIM_PWM_Init(&htim3) != HAL_OK)
  {
    Error_Handler();
  }
  sMasterConfig.MasterOutputTrigger = TIM_TRGO_RESET;
  sMasterConfig.MasterSlaveMode = TIM_MASTERSLAVEMODE_DISABLE;
  if (HAL_TIMEx_MasterConfigSynchronization(&htim3, &sMasterConfig) != HAL_OK)
  {
    Error_Handler();
  }
  sConfigOC.OCMode = TIM_OCMODE_PWM1;
  sConfigOC.Pulse = 0;
  sConfigOC.OCPolarity = TIM_OCPOLARITY_HIGH;
  sConfigOC.OCFastMode = TIM_OCFAST_DISABLE;
  if (HAL_TIM_PWM_ConfigChannel(&htim3, &sConfigOC, TIM_CHANNEL_3) != HAL_OK)
  {
    Error_Handler();
  }
  HAL_TIM_MspPostInit(&htim3);

}

static void MX_TIM4_Init(void)
{

  TIM_MasterConfigTypeDef sMasterConfig = {0};
  TIM_OC_InitTypeDef sConfigOC = {0};

  htim4.Instance = TIM4;
  htim4.Init.Prescaler = 16-1;
  htim4.Init.CounterMode = TIM_COUNTERMODE_UP;
  htim4.Init.Period = 499;
  htim4.Init.ClockDivision = TIM_CLOCKDIVISION_DIV1;
  htim4.Init.AutoReloadPreload = TIM_AUTORELOAD_PRELOAD_DISABLE;
  if (HAL_TIM_PWM_Init(&htim4) != HAL_OK)
  {
    Error_Handler();
  }
  sMasterConfig.MasterOutputTrigger = TIM_TRGO_RESET;
  sMasterConfig.MasterSlaveMode = TIM_MASTERSLAVEMODE_DISABLE;
  if (HAL_TIMEx_MasterConfigSynchronization(&htim4, &sMasterConfig) != HAL_OK)
  {
    Error_Handler();
  }
  sConfigOC.OCMode = TIM_OCMODE_PWM1;
  sConfigOC.Pulse = 0;
  sConfigOC.OCPolarity = TIM_OCPOLARITY_HIGH;
  sConfigOC.OCFastMode = TIM_OCFAST_DISABLE;
  if (HAL_TIM_PWM_ConfigChannel(&htim4, &sConfigOC, TIM_CHANNEL_1) != HAL_OK)
  {
    Error_Handler();
  }
  if (HAL_TIM_PWM_ConfigChannel(&htim4, &sConfigOC, TIM_CHANNEL_2) != HAL_OK)
  {
    Error_Handler();
  }
  if (HAL_TIM_PWM_ConfigChannel(&htim4, &sConfigOC, TIM_CHANNEL_3) != HAL_OK)
  {
    Error_Handler();
  }
  HAL_TIM_MspPostInit(&htim4);

}

static void MX_USART1_UART_Init(void)
{

  LL_USART_InitTypeDef USART_InitStruct = {0};

  LL_GPIO_InitTypeDef GPIO_InitStruct = {0};
  RCC_PeriphCLKInitTypeDef PeriphClkInit = {0};

  /** Initializes the peripherals clock
  */
  PeriphClkInit.PeriphClockSelection = RCC_PERIPHCLK_USART1;
  PeriphClkInit.Usart1ClockSelection = RCC_USART1CLKSOURCE_PCLK2;
  if (HAL_RCCEx_PeriphCLKConfig(&PeriphClkInit) != HAL_OK)
  {
    Error_Handler();
  }

  /* Peripheral clock enable */
  LL_APB2_GRP1_EnableClock(LL_APB2_GRP1_PERIPH_USART1);

  LL_AHB2_GRP1_EnableClock(LL_AHB2_GRP1_PERIPH_GPIOA);
  /**USART1 GPIO Configuration
  PA9   ------> USART1_TX
  PA10   ------> USART1_RX
  */
  GPIO_InitStruct.Pin = LOG_USART_TX_Pin|LOG_USART_RX_Pin;
  GPIO_InitStruct.Mode = LL_GPIO_MODE_ALTERNATE;
  GPIO_InitStruct.Speed = LL_GPIO_SPEED_FREQ_VERY_HIGH;
  GPIO_InitStruct.OutputType = LL_GPIO_OUTPUT_PUSHPULL;
  GPIO_InitStruct.Pull = LL_GPIO_PULL_DOWN;
  GPIO_InitStruct.Alternate = LL_GPIO_AF_7;
  LL_GPIO_Init(GPIOA, &GPIO_InitStruct);

  /* USART1 interrupt Init */
  NVIC_SetPriority(USART1_IRQn, NVIC_EncodePriority(NVIC_GetPriorityGrouping(),15, 0));
  NVIC_EnableIRQ(USART1_IRQn);

  USART_InitStruct.PrescalerValue = LL_USART_PRESCALER_DIV1;
  USART_InitStruct.BaudRate = 115200;
  USART_InitStruct.DataWidth = LL_USART_DATAWIDTH_8B;
  USART_InitStruct.StopBits = LL_USART_STOPBITS_1;
  USART_InitStruct.Parity = LL_USART_PARITY_NONE;
  USART_InitStruct.TransferDirection = LL_USART_DIRECTION_TX_RX;
  USART_InitStruct.HardwareFlowControl = LL_USART_HWCONTROL_NONE;
  USART_InitStruct.OverSampling = LL_USART_OVERSAMPLING_16;
  LL_USART_Init(USART1, &USART_InitStruct);
  LL_USART_SetTXFIFOThreshold(USART1, LL_USART_FIFOTHRESHOLD_1_8);
  LL_USART_SetRXFIFOThreshold(USART1, LL_USART_FIFOTHRESHOLD_1_8);
  LL_USART_DisableFIFO(USART1);
  LL_USART_ConfigAsyncMode(USART1);
  LL_USART_Enable(USART1);

}

static void MX_USB_OTG_FS_PCD_Init(void)
{

  hpcd_USB_OTG_FS.Instance = USB_OTG_FS;
  hpcd_USB_OTG_FS.Init.dev_endpoints = 6;
  hpcd_USB_OTG_FS.Init.speed = PCD_SPEED_FULL;
  hpcd_USB_OTG_FS.Init.phy_itface = PCD_PHY_EMBEDDED;
  hpcd_USB_OTG_FS.Init.Sof_enable = DISABLE;
  hpcd_USB_OTG_FS.Init.low_power_enable = DISABLE;
  hpcd_USB_OTG_FS.Init.lpm_enable = DISABLE;
  hpcd_USB_OTG_FS.Init.battery_charging_enable = DISABLE;
  hpcd_USB_OTG_FS.Init.use_dedicated_ep1 = DISABLE;
  hpcd_USB_OTG_FS.Init.vbus_sensing_enable = DISABLE;
  hpcd_USB_OTG_FS.Init.dma_enable = DISABLE;
  if (HAL_PCD_Init(&hpcd_USB_OTG_FS) != HAL_OK)
  {
    Error_Handler();
  }

}

static void MX_GPIO_Init(void)
{
  LL_EXTI_InitTypeDef EXTI_InitStruct = {0};
  LL_GPIO_InitTypeDef GPIO_InitStruct = {0};

  /* GPIO Ports Clock Enable */
  LL_AHB2_GRP1_EnableClock(LL_AHB2_GRP1_PERIPH_GPIOA);
  LL_AHB2_GRP1_EnableClock(LL_AHB2_GRP1_PERIPH_GPIOB);

  /**/
  LL_GPIO_ResetOutputPin(GPIOA, WAKE_Pin|RESET_N_Pin|SPI_CS_Pin);

  /**/
  LL_GPIO_ResetOutputPin(GPIOB, RL1_RST_Pin|RL2_RST_Pin|RL3_RST_Pin);

  /**/
  LL_GPIO_SetOutputPin(LED_MSG_GPIO_Port, LED_MSG_Pin);

  /**/
  LL_EXTI_SetEXTISource(LL_EXTI_EXTI_PORTA, LL_EXTI_EXTI_LINE0);

  /**/
  LL_EXTI_SetEXTISource(LL_EXTI_EXTI_PORTB, LL_EXTI_EXTI_LINE1);

  /**/
  EXTI_InitStruct.Line_0_31 = LL_EXTI_LINE_0;
  EXTI_InitStruct.LineCommand = ENABLE;
  EXTI_InitStruct.Mode = LL_EXTI_MODE_IT;
  EXTI_InitStruct.Trigger = LL_EXTI_TRIGGER_RISING;
  LL_EXTI_Init(&EXTI_InitStruct);

  /**/
  EXTI_InitStruct.Line_0_31 = LL_EXTI_LINE_1;
  EXTI_InitStruct.LineCommand = ENABLE;
  EXTI_InitStruct.Mode = LL_EXTI_MODE_IT;
  EXTI_InitStruct.Trigger = LL_EXTI_TRIGGER_FALLING;
  LL_EXTI_Init(&EXTI_InitStruct);

  /**/
  LL_GPIO_SetPinPull(BUSY_GPIO_Port, BUSY_Pin, LL_GPIO_PULL_DOWN);

  /**/
  LL_GPIO_SetPinPull(SPI_IRQ_GPIO_Port, SPI_IRQ_Pin, LL_GPIO_PULL_NO);

  /**/
  LL_GPIO_SetPinMode(BUSY_GPIO_Port, BUSY_Pin, LL_GPIO_MODE_INPUT);

  /**/
  LL_GPIO_SetPinMode(SPI_IRQ_GPIO_Port, SPI_IRQ_Pin, LL_GPIO_MODE_INPUT);

  /**/
  GPIO_InitStruct.Pin = WAKE_Pin|RESET_N_Pin|SPI_CS_Pin|LED_MSG_Pin;
  GPIO_InitStruct.Mode = LL_GPIO_MODE_OUTPUT;
  GPIO_InitStruct.Speed = LL_GPIO_SPEED_FREQ_LOW;
  GPIO_InitStruct.OutputType = LL_GPIO_OUTPUT_PUSHPULL;
  GPIO_InitStruct.Pull = LL_GPIO_PULL_NO;
  LL_GPIO_Init(GPIOA, &GPIO_InitStruct);

  /**/
  GPIO_InitStruct.Pin = RL1_RST_Pin|RL2_RST_Pin|RL3_RST_Pin;
  GPIO_InitStruct.Mode = LL_GPIO_MODE_OUTPUT;
  GPIO_InitStruct.Speed = LL_GPIO_SPEED_FREQ_LOW;
  GPIO_InitStruct.OutputType = LL_GPIO_OUTPUT_PUSHPULL;
  GPIO_InitStruct.Pull = LL_GPIO_PULL_NO;
  LL_GPIO_Init(GPIOB, &GPIO_InitStruct);

  /* EXTI interrupt init*/
  NVIC_SetPriority(EXTI0_IRQn, NVIC_EncodePriority(NVIC_GetPriorityGrouping(),15, 0));
  NVIC_SetPriority(EXTI1_IRQn, NVIC_EncodePriority(NVIC_GetPriorityGrouping(),15, 0));

}

void HAL_TIM_PeriodElapsedCallback(TIM_HandleTypeDef *htim)
{
  if (htim->Instance == TIM1)
  {
    HAL_IncTick();
  }
}

void Error_Handler(void)
{
  __disable_irq();
  while (1)
  {
  }
}
